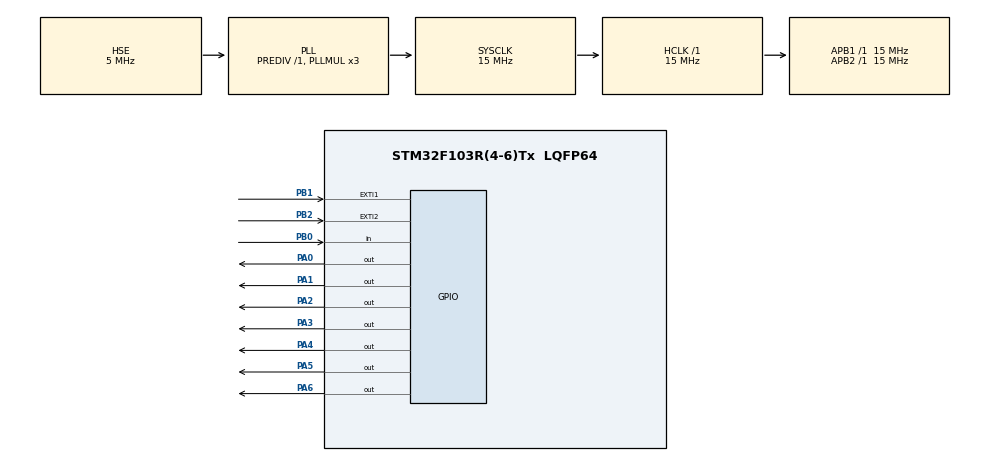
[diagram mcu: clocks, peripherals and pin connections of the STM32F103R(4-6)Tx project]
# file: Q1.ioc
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Mcu.Family=STM32F1
Mcu.Name=STM32F103R(4-6)Tx
Mcu.Package=LQFP64
NVIC.EXTI1_IRQn=true\:0\:0\:false\:false\:true\:true\:true\:true
NVIC.EXTI2_IRQn=true\:0\:0\:false\:false\:true\:true\:true\:true
NVIC.PriorityGroup=NVIC_PRIORITYGROUP_4
PA0-WKUP.Signal=GPIO_Output
PA1.Signal=GPIO_Output
PA2.Signal=GPIO_Output
PA3.Signal=GPIO_Output
PA4.Signal=GPIO_Output
PA5.Signal=GPIO_Output
PA6.Signal=GPIO_Output
PB0.GPIO_PuPd=GPIO_PULLUP
PB0.Signal=GPIO_Input
PB1.GPIO_ModeDefaultEXTI=GPIO_MODE_IT_FALLING
PB1.GPIO_PuPd=GPIO_PULLUP
PB1.Signal=GPXTI1
PB2.GPIO_ModeDefaultEXTI=GPIO_MODE_IT_FALLING
PB2.GPIO_PuPd=GPIO_PULLUP
PB2.Signal=GPXTI2
PD0-OSC_IN.Mode=HSE-External-Oscillator
PD0-OSC_IN.Signal=RCC_OSC_IN
PD1-OSC_OUT.Mode=HSE-External-Oscillator
PD1-OSC_OUT.Signal=RCC_OSC_OUT
ProjectManager.HeapSize=0x200
ProjectManager.StackSize=0x400
ProjectManager.TargetToolchain=STM32CubeIDE
RCC.AHBFreq_Value=15000000
RCC.APB1Freq_Value=15000000
RCC.APB1TimFreq_Value=15000000
RCC.APB2Freq_Value=15000000
RCC.APB2TimFreq_Value=15000000
RCC.HCLKFreq_Value=15000000
RCC.HSE_VALUE=5000000
RCC.PLLMUL=RCC_PLL_MUL3
RCC.PLLSourceVirtual=RCC_PLLSOURCE_HSE
RCC.SYSCLKFreq_VALUE=15000000
RCC.SYSCLKSource=RCC_SYSCLKSOURCE_PLLCLK
RCC.USBFreq_Value=15000000
VP_SYS_VS_ND.Mode=No_Debug
board=custom

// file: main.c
/* USER CODE BEGIN Header */
/**
  ******************************************************************************
  * @file           : main.c
  * @brief          : Main program body
  ******************************************************************************
  * @attention
  *
  * Copyright (c) 2026 STMicroelectronics.
  * All rights reserved.
  *
  * This software is licensed under terms that can be found in the LICENSE file
  * in the root directory of this software component.
  * If no LICENSE file comes with this software, it is provided AS-IS.
  *
  ******************************************************************************
  */
/* USER CODE END Header */
#include "main.h"

/* USER CODE BEGIN PV */
uint8_t segments[10][7] = {
    {1, 1, 1, 1, 1, 1, 0},
    {0, 1, 1, 0, 0, 0, 0},
    {1, 1, 0, 1, 1, 0, 1},
    {1, 1, 1, 1, 0, 0, 1},
    {0, 1, 1, 0, 0, 1, 1},
    {1, 0, 1, 1, 0, 1, 1},
    {1, 0, 1, 1, 1, 1, 1},
    {1, 1, 1, 0, 0, 0, 0},
    {1, 1, 1, 1, 1, 1, 1},
    {1, 1, 1, 1, 0, 1, 1}
};
uint8_t run_flag = 0;
uint8_t i = 0;
uint16_t segment_pins[7] = {GPIO_PIN_0, GPIO_PIN_1, GPIO_PIN_2, GPIO_PIN_3, GPIO_PIN_4, GPIO_PIN_5, GPIO_PIN_6};
/* USER CODE END PV */

void SystemClock_Config(void);
static void MX_GPIO_Init(void);

int main(void)
{

  /* MCU Configuration--------------------------------------------------------*/

  /* Reset of all peripherals, Initializes the Flash interface and the Systick. */
  HAL_Init();

  /* Configure the system clock */
  SystemClock_Config();

  /* Initialize all configured peripherals */
  MX_GPIO_Init();
  /* USER CODE BEGIN 2 */
  HAL_GPIO_WritePin(GPIOA, GPIO_PIN_0, GPIO_PIN_SET); // Segment A
  HAL_GPIO_WritePin(GPIOA, GPIO_PIN_1, GPIO_PIN_SET); // Segment B
  HAL_GPIO_WritePin(GPIOA, GPIO_PIN_2, GPIO_PIN_SET); // Segment C
  HAL_GPIO_WritePin(GPIOA, GPIO_PIN_3, GPIO_PIN_SET); // Segment D
  HAL_GPIO_WritePin(GPIOA, GPIO_PIN_4, GPIO_PIN_SET); // Segment E
  HAL_GPIO_WritePin(GPIOA, GPIO_PIN_5, GPIO_PIN_SET); // Segment F
  HAL_GPIO_WritePin(GPIOA, GPIO_PIN_6, GPIO_PIN_RESET); // Segment G
  /* USER CODE END 2 */

  /* Infinite loop */
  /* USER CODE BEGIN WHILE */
  while (1)
  {
        if (HAL_GPIO_ReadPin(GPIOB, GPIO_PIN_0) == GPIO_PIN_RESET)
        {
            run_flag = 1;
        }

        if (run_flag == 1)
        {
            for (int j = 0; j < 7; j++)
            {
                HAL_GPIO_WritePin(GPIOA, segment_pins[j], segments[i][j]);
            }
            HAL_Delay(500);
            i++;
            if (i > 9){ i = 0; }
        }
    }
    /* USER CODE END WHILE */

}

void SystemClock_Config(void)
{
  RCC_OscInitTypeDef RCC_OscInitStruct = {0};
  RCC_ClkInitTypeDef RCC_ClkInitStruct = {0};

  /** Initializes the RCC Oscillators according to the specified parameters
  * in the RCC_OscInitTypeDef structure.
  */
  RCC_OscInitStruct.OscillatorType = RCC_OSCILLATORTYPE_HSE;
  RCC_OscInitStruct.HSEState = RCC_HSE_ON;
  RCC_OscInitStruct.HSEPredivValue = RCC_HSE_PREDIV_DIV1;
  RCC_OscInitStruct.HSIState = RCC_HSI_ON;
  RCC_OscInitStruct.PLL.PLLState = RCC_PLL_ON;
  RCC_OscInitStruct.PLL.PLLSource = RCC_PLLSOURCE_HSE;
  RCC_OscInitStruct.PLL.PLLMUL = RCC_PLL_MUL3;
  if (HAL_RCC_OscConfig(&RCC_OscInitStruct) != HAL_OK)
  {
    Error_Handler();
  }

  /** Initializes the CPU, AHB and APB buses clocks
  */
  RCC_ClkInitStruct.ClockType = RCC_CLOCKTYPE_HCLK|RCC_CLOCKTYPE_SYSCLK
                              |RCC_CLOCKTYPE_PCLK1|RCC_CLOCKTYPE_PCLK2;
  RCC_ClkInitStruct.SYSCLKSource = RCC_SYSCLKSOURCE_PLLCLK;
  RCC_ClkInitStruct.AHBCLKDivider = RCC_SYSCLK_DIV1;
  RCC_ClkInitStruct.APB1CLKDivider = RCC_HCLK_DIV1;
  RCC_ClkInitStruct.APB2CLKDivider = RCC_HCLK_DIV1;

  if (HAL_RCC_ClockConfig(&RCC_ClkInitStruct, FLASH_LATENCY_0) != HAL_OK)
  {
    Error_Handler();
  }
}

static void MX_GPIO_Init(void)
{
  GPIO_InitTypeDef GPIO_InitStruct = {0};

  /* GPIO Ports Clock Enable */
  __HAL_RCC_GPIOD_CLK_ENABLE();
  __HAL_RCC_GPIOA_CLK_ENABLE();
  __HAL_RCC_GPIOB_CLK_ENABLE();

  /*Configure GPIO pin Output Level */
  HAL_GPIO_WritePin(GPIOA, GPIO_PIN_0|GPIO_PIN_1|GPIO_PIN_2|GPIO_PIN_3
                          |GPIO_PIN_4|GPIO_PIN_5|GPIO_PIN_6, GPIO_PIN_RESET);

  /*Configure GPIO pins : PA0 PA1 PA2 PA3
                           PA4 PA5 PA6 */
  GPIO_InitStruct.Pin = GPIO_PIN_0|GPIO_PIN_1|GPIO_PIN_2|GPIO_PIN_3
                          |GPIO_PIN_4|GPIO_PIN_5|GPIO_PIN_6;
  GPIO_InitStruct.Mode = GPIO_MODE_OUTPUT_PP;
  GPIO_InitStruct.Pull = GPIO_NOPULL;
  GPIO_InitStruct.Speed = GPIO_SPEED_FREQ_LOW;
  HAL_GPIO_Init(GPIOA, &GPIO_InitStruct);

  /*Configure GPIO pin : PB0 */
  GPIO_InitStruct.Pin = GPIO_PIN_0;
  GPIO_InitStruct.Mode = GPIO_MODE_INPUT;
  GPIO_InitStruct.Pull = GPIO_PULLUP;
  HAL_GPIO_Init(GPIOB, &GPIO_InitStruct);

  /*Configure GPIO pins : PB1 PB2 */
  GPIO_InitStruct.Pin = GPIO_PIN_1|GPIO_PIN_2;
  GPIO_InitStruct.Mode = GPIO_MODE_IT_FALLING;
  GPIO_InitStruct.Pull = GPIO_PULLUP;
  HAL_GPIO_Init(GPIOB, &GPIO_InitStruct);

  /* EXTI interrupt init*/
  HAL_NVIC_SetPriority(EXTI1_IRQn, 0, 0);
  HAL_NVIC_EnableIRQ(EXTI1_IRQn);

  HAL_NVIC_SetPriority(EXTI2_IRQn, 0, 0);
  HAL_NVIC_EnableIRQ(EXTI2_IRQn);

}

/* USER CODE BEGIN 4 */
void HAL_GPIO_EXTI_Callback(uint16_t GPIO_Pin)
{
	HAL_GPIO_WritePin(GPIOA, GPIO_PIN_0|GPIO_PIN_1|GPIO_PIN_2|GPIO_PIN_3|GPIO_PIN_4|GPIO_PIN_5|GPIO_PIN_6, GPIO_PIN_RESET);

	if(GPIO_Pin == GPIO_PIN_1){
		run_flag = 0;
		i = 0;
		for (int j = 0; j < 7; j++){
			HAL_GPIO_WritePin(GPIOA, segment_pins[j], segments[1][j]);
		}

	}
	else if(GPIO_Pin == GPIO_PIN_2){
		run_flag = 0;
		i = 0;
		for (int j = 0; j < 7; j++){
			HAL_GPIO_WritePin(GPIOA, segment_pins[j], segments[9][j]);
		}

	}
}
/* USER CODE END 4 */

void Error_Handler(void)
{
  __disable_irq();
  while (1)
  {
  }
}
